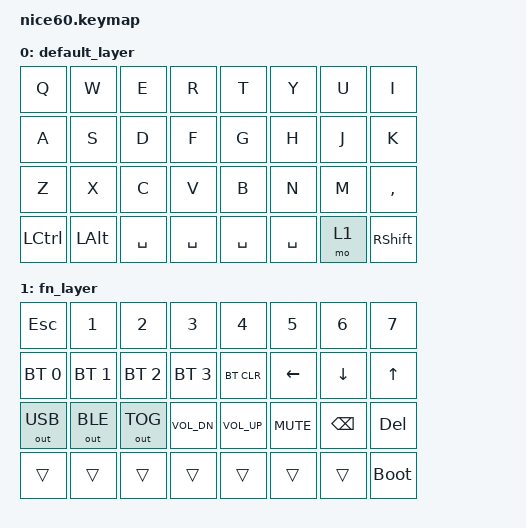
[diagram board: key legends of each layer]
/*
 * Copyright (c) 2023 The ZMK Contributors
 *
 * SPDX-License-Identifier: MIT
 */

#include <behaviors.dtsi>
#include <dt-bindings/zmk/keys.h>
#include <dt-bindings/zmk/bt.h>
#include <dt-bindings/zmk/outputs.h>

/ {
    keymap {
        compatible = "zmk,keymap";
        
        default_layer {
            // 8x4 Matrix Layout (32 keys)
            bindings = <
                &kp Q     &kp W     &kp E     &kp R     &kp T     &kp Y     &kp U     &kp I
                &kp A     &kp S     &kp D     &kp F     &kp G     &kp H     &kp J     &kp K
                &kp Z     &kp X     &kp C     &kp V     &kp B     &kp N     &kp M     &kp COMMA
                &kp LCTRL &kp LALT  &kp SPACE &kp SPACE &kp SPACE &kp SPACE &mo 1     &kp RSHFT
            >;
        };
        
        fn_layer {
            // Function layer with BT controls
            bindings = <
                &kp ESC      &kp N1       &kp N2       &kp N3       &kp N4       &kp N5       &kp N6       &kp N7
                &bt BT_SEL 0 &bt BT_SEL 1 &bt BT_SEL 2 &bt BT_SEL 3 &bt BT_CLR   &kp LEFT     &kp DOWN     &kp UP
                &out OUT_USB &out OUT_BLE &out OUT_TOG &kp C_VOL_DN &kp C_VOL_UP &kp C_MUTE   &kp BSPC     &kp DEL
                &trans       &trans       &trans       &trans       &trans       &trans       &trans       &bootloader
            >;
        };
    };
};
